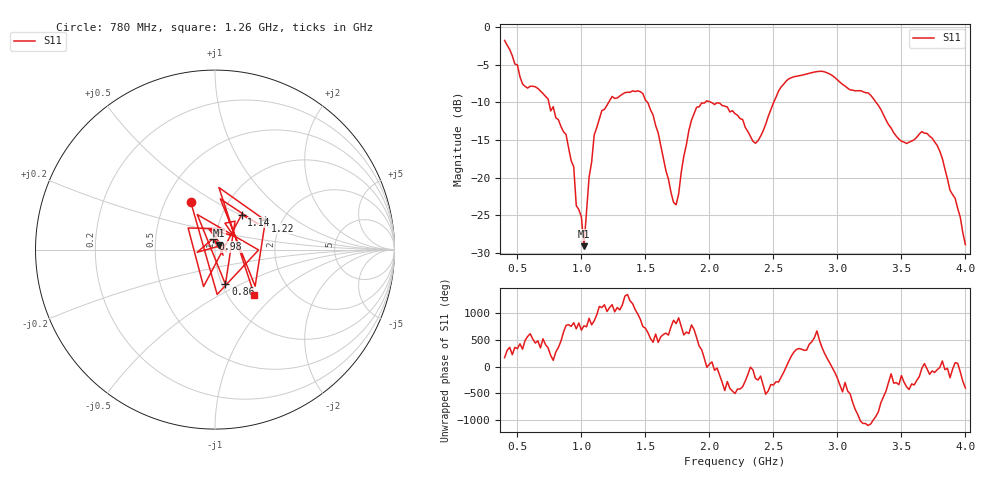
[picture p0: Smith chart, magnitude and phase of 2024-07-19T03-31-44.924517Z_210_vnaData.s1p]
!Created with skrf (http://scikit-rf.org).
# Hz S RI R 50.0
!freq ReS11 ImS11
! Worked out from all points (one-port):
!   181 points, 400 MHz to 4 GHz, reference 50 ohm
!   lowest |S11| = -29.1 dB at 1.02 GHz (marker M1), VSWR 1.07, Z = 52.3 + j2.75 ohm
!   |S11| at or under -10 dB: 745.7 MHz to 1.212 GHz (466.8 MHz wide, 47.7 % of centre); 2.015 GHz to 2.502 GHz (486.9 MHz wide, 21.6 % of centre); 3.302 GHz to end of sweep (the widest 3 of 4)
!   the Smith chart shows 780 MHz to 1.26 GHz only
!   S11 on the Smith chart (normalised r, x): 780 MHz: 0.67, +0.39; 860 MHz: 1.04, -0.42; 980 MHz: 0.97, +0.12; 1.14 GHz: 1.23, +0.51; 1.22 GHz: 1.65, +0.60; 1.26 GHz: 1.32, -0.76
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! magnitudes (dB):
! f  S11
! 400 MHz  -1.8
! 540 MHz  -7.5
! 780 MHz  -10.6
! 860 MHz  -13.9
! 940 MHz  -18.6
! 960 MHz  -23.7
! 980 MHz  -24.3
! 1.02 GHz  -29.1
! 1.06 GHz  -20.0
! 1.1 GHz  -14.3
! 1.14 GHz  -12.2
! 1.22 GHz  -9.8
! 1.26 GHz  -9.5
! 1.3 GHz  -9.1
! 1.48 GHz  -8.8
! 1.6 GHz  -14.1
! 1.72 GHz  -23.3
! 1.76 GHz  -22.1
! 1.84 GHz  -13.7
! 1.9 GHz  -10.6
! 2.2 GHz  -11.5
! 2.36 GHz  -15.4
! 2.66 GHz  -6.6
! 3.1 GHz  -8.3
! 3.24 GHz  -8.7
! 3.56 GHz  -15.3
! 3.78 GHz  -15.7
! 4 GHz  -28.9
